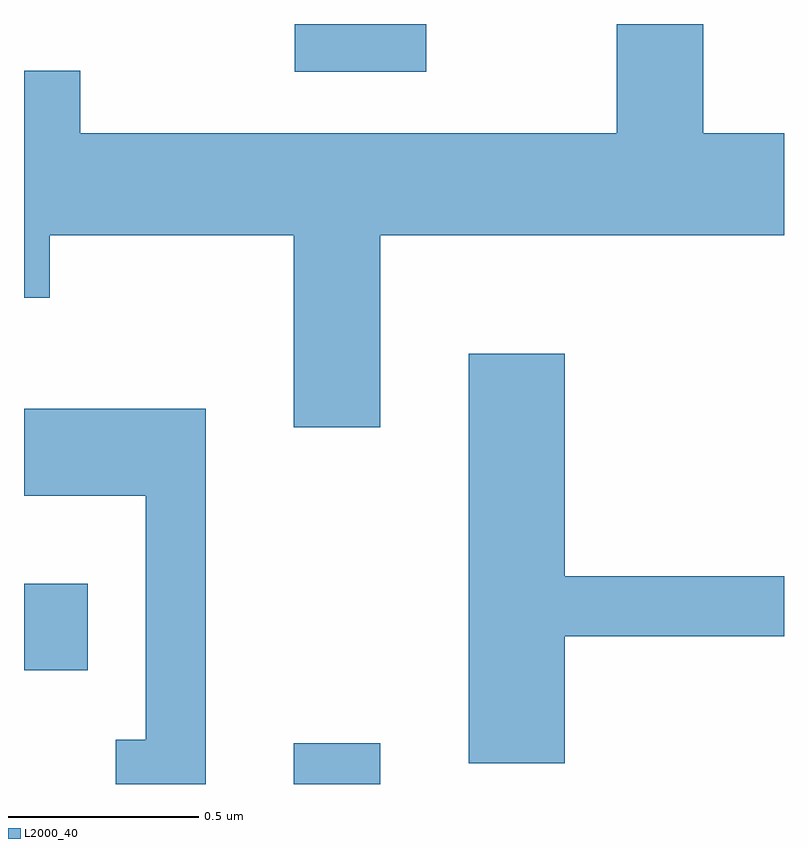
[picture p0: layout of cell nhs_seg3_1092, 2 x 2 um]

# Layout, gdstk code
import gdstk
lib = gdstk.Library(unit=1e-6, precision=1e-09)
def R(c, l, rs):  # rectangles x0, y0, x1, y1
    for r in rs: c.add(gdstk.rectangle(r[:2], r[2:], *l))
def P(c, l, *ps):  # polygons
    for p in ps: c.add(gdstk.Polygon(p, *l))
L2000_40 = (2000, 40)

nhs_seg3_1092 = lib.new_cell('nhs_seg3_1092')
R(nhs_seg3_1092, L2000_40, [(193.321,1248.892,193.549,1248.999), (192.611,1249.191,192.779,1249.419), (193.323,1250.766,193.669,1250.892)])
P(nhs_seg3_1092, L2000_40, [(193.549,1250.336),(194.611,1250.336),(194.611,1250.604),(194.399,1250.604),(194.399,1250.892),(194.171,1250.892),(194.171,1250.604),(192.759,1250.604),(192.759,1250.769),(192.611,1250.769),(192.611,1250.171),(192.679,1250.171),(192.679,1250.336),(193.321,1250.336),(193.321,1249.831),(193.549,1249.831)],
  [(194.034,1249.281),(194.611,1249.281),(194.611,1249.439),(194.034,1249.439),(194.034,1250.024),(193.781,1250.024),(193.781,1248.946),(194.034,1248.946)],
  [(193.089,1249.879),(192.611,1249.879),(192.611,1249.651),(192.931,1249.651),(192.931,1249.009),(192.853,1249.009),(192.853,1248.892),(193.089,1248.892)])

lib.write_gds('nhs_seg3_1092.gds')
